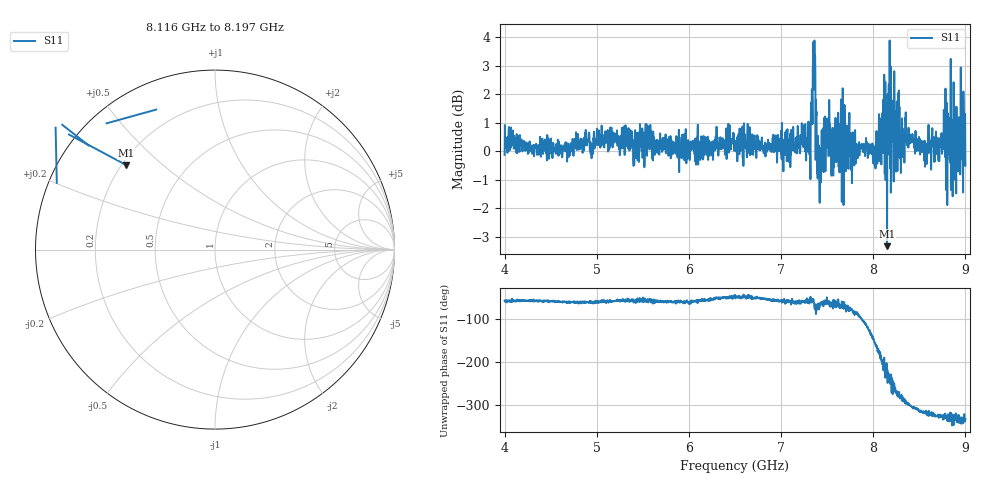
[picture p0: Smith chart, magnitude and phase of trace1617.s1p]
! Created with skrf 1.8.0 (http://scikit-rf.org).
# Hz S RI R 50.0
!freq ReS11 ImS11
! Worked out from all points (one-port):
!   1601 points, 4 GHz to 9 GHz, reference 50 ohm
!   lowest |S11| = -3.3 dB at 8.15 GHz (marker M1), VSWR 5.28, Z = 10.9 + j19.2 ohm
!   |S11| at or under -10 dB: nowhere
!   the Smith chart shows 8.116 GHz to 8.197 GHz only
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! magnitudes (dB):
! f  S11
! 4 GHz  -0.1
! 4.066 GHz  0.1
! 4.625 GHz  -0.2
! 5.25 GHz  -0.1
! 5.875 GHz  -0.2
! 6.5 GHz  0.2
! 7.125 GHz  0.3
! 7.294 GHz  0.4
! 7.316 GHz  -0.2
! 7.347 GHz  3.0
! 7.369 GHz  3.4
! 7.412 GHz  0.1
! 7.512 GHz  0.3
! 7.559 GHz  0.8
! 7.688 GHz  1.6
! 7.75 GHz  -0.1
! 8.003 GHz  -0.1
! 8.106 GHz  -0.1
! 8.15 GHz  -3.3
! 8.181 GHz  2.3
! 8.209 GHz  0.9
! 8.312 GHz  1.2
! 8.375 GHz  0.4
! 8.569 GHz  -0.4
! 8.759 GHz  0.4
! 8.919 GHz  -0.7
! 8.972 GHz  0.5
! 9 GHz  -0.5
